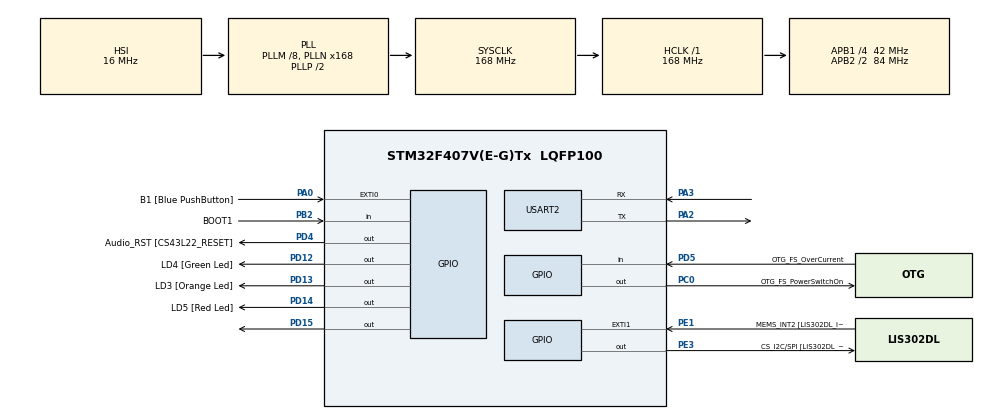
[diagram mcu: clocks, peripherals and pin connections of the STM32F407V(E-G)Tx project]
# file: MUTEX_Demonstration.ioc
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Mcu.Family=STM32F4
Mcu.Name=STM32F407V(E-G)Tx
Mcu.Package=LQFP100
NVIC.PriorityGroup=NVIC_PRIORITYGROUP_4
NVIC.TIM6_DAC_IRQn=true\:0\:0\:false\:false\:true\:false\:true\:true
NVIC.TimeBase=TIM6_DAC_IRQn
NVIC.TimeBaseIP=TIM6
NVIC.USART2_IRQn=true\:6\:0\:true\:false\:true\:true\:true\:true
PA0-WKUP.GPIO_Label=B1 [Blue PushButton]
PA0-WKUP.Signal=GPXTI0
PA10.GPIO_Label=OTG_FS_ID
PA10.GPIO_Mode=GPIO_MODE_AF_PP
PA10.GPIO_PuPd=GPIO_NOPULL
PA10.GPIO_Speed=GPIO_SPEED_FREQ_LOW
PA10.Signal=USB_OTG_FS_ID
PA11.GPIO_Label=OTG_FS_DM
PA11.GPIO_Mode=GPIO_MODE_AF_PP
PA11.GPIO_PuPd=GPIO_NOPULL
PA11.GPIO_Speed=GPIO_SPEED_FREQ_LOW
PA11.Signal=USB_OTG_FS_DM
PA12.GPIO_Label=OTG_FS_DP
PA12.GPIO_Mode=GPIO_MODE_AF_PP
PA12.GPIO_PuPd=GPIO_NOPULL
PA12.GPIO_Speed=GPIO_SPEED_FREQ_LOW
PA12.Signal=USB_OTG_FS_DP
PA13.GPIO_Label=SWDIO
PA13.Signal=SYS_JTMS-SWDIO
PA14.GPIO_Label=SWCLK
PA14.Signal=SYS_JTCK-SWCLK
PA2.Mode=Asynchronous
PA2.Signal=USART2_TX
PA3.Mode=Asynchronous
PA3.Signal=USART2_RX
PA4.GPIO_Label=I2S3_WS [CS43L22_LRCK]
PA4.GPIO_Mode=GPIO_MODE_AF_PP
PA4.GPIO_PuPd=GPIO_NOPULL
PA4.GPIO_Speed=GPIO_SPEED_FREQ_LOW
PA4.Signal=I2S3_WS
PA5.GPIO_Label=SPI1_SCK [LIS302DL_SCL/SPC]
PA5.GPIO_Mode=GPIO_MODE_AF_PP
PA5.GPIO_PuPd=GPIO_NOPULL
PA5.GPIO_Speed=GPIO_SPEED_FREQ_LOW
PA5.Signal=SPI1_SCK
PA6.GPIO_Label=SPI1_MISO [LIS302DL_SDO]
PA6.GPIO_Mode=GPIO_MODE_AF_PP
PA6.GPIO_PuPd=GPIO_NOPULL
PA6.GPIO_Speed=GPIO_SPEED_FREQ_LOW
PA6.Signal=SPI1_MISO
PA7.GPIO_Label=SPI1_MOSI [LIS302DL_SDA/SDI/SDO]
PA7.GPIO_Mode=GPIO_MODE_AF_PP
PA7.GPIO_PuPd=GPIO_NOPULL
PA7.GPIO_Speed=GPIO_SPEED_FREQ_LOW
PA7.Signal=SPI1_MOSI
PA9.GPIO_Label=VBUS_FS
PA9.GPIO_Mode=GPIO_MODE_INPUT
PA9.GPIO_PuPd=GPIO_NOPULL
PA9.Signal=USB_OTG_FS_VBUS
PB10.GPIO_Label=CLK_IN [MP45DT02_CLK]
PB10.GPIO_Mode=GPIO_MODE_AF_PP
PB10.GPIO_PuPd=GPIO_NOPULL
PB10.GPIO_Speed=GPIO_SPEED_FREQ_LOW
PB10.Signal=I2S2_CK
PB2.GPIO_Label=BOOT1
PB2.GPIO_Mode=GPIO_MODE_INPUT
PB2.GPIO_PuPd=GPIO_NOPULL
PB2.Signal=GPIO_Input
PB3.GPIO_Label=SWO
PB3.Signal=SYS_JTDO-SWO
PB6.GPIO_Label=Audio_SCL [CS43L22_SCL]
PB6.GPIO_Mode=GPIO_MODE_AF_OD
PB6.GPIO_PuPd=GPIO_NOPULL
PB6.GPIO_Speed=GPIO_SPEED_FREQ_LOW
PB6.Signal=I2C1_SCL
PB9.GPIO_Label=Audio_SDA [CS43L22_SDA]
PB9.GPIO_Mode=GPIO_MODE_AF_OD
PB9.GPIO_PuPd=GPIO_NOPULL
PB9.GPIO_Speed=GPIO_SPEED_FREQ_LOW
PB9.Signal=I2C1_SDA
PC0.GPIO_Label=OTG_FS_PowerSwitchOn
PC0.GPIO_PuPd=GPIO_NOPULL
PC0.GPIO_Speed=GPIO_SPEED_FREQ_LOW
PC0.PinState=GPIO_PIN_SET
PC0.Signal=GPIO_Output
PC10.GPIO_Label=I2S3_SCK [CS43L22_SCLK]
PC10.GPIO_Mode=GPIO_MODE_AF_PP
PC10.GPIO_PuPd=GPIO_NOPULL
PC10.GPIO_Speed=GPIO_SPEED_FREQ_LOW
PC10.Signal=I2S3_CK
PC12.GPIO_Label=I2S3_SD [CS43L22_SDIN]
PC12.GPIO_Mode=GPIO_MODE_AF_PP
PC12.GPIO_PuPd=GPIO_NOPULL
PC12.GPIO_Speed=GPIO_SPEED_FREQ_LOW
PC12.Signal=I2S3_SD
PC14-OSC32_IN.GPIO_Label=PC14-OSC32_IN
PC14-OSC32_IN.Signal=RCC_OSC32_IN
PC15-OSC32_OUT.GPIO_Label=PC15-OSC32_OUT
PC15-OSC32_OUT.Signal=RCC_OSC32_OUT
PC3.GPIO_Label=PDM_OUT [MP45DT02_DOUT]
PC3.GPIO_Mode=GPIO_MODE_AF_PP
PC3.GPIO_PuPd=GPIO_NOPULL
PC3.GPIO_Speed=GPIO_SPEED_FREQ_LOW
PC3.Signal=I2S2_SD
PC7.GPIO_Label=I2S3_MCK [CS43L22_MCLK]
PC7.GPIO_Mode=GPIO_MODE_AF_PP
PC7.GPIO_PuPd=GPIO_NOPULL
PC7.GPIO_Speed=GPIO_SPEED_FREQ_LOW
PC7.Signal=I2S3_MCK
PD12.GPIO_Label=LD4 [Green Led]
PD12.GPIO_PuPd=GPIO_NOPULL
PD12.GPIO_Speed=GPIO_SPEED_FREQ_LOW
PD12.Signal=GPIO_Output
PD13.GPIO_Label=LD3 [Orange Led]
PD13.GPIO_PuPd=GPIO_NOPULL
PD13.GPIO_Speed=GPIO_SPEED_FREQ_LOW
PD13.Signal=GPIO_Output
PD14.GPIO_Label=LD5 [Red Led]
PD14.GPIO_PuPd=GPIO_NOPULL
PD14.GPIO_Speed=GPIO_SPEED_FREQ_LOW
PD14.Signal=GPIO_Output
PD15.Signal=GPIO_Output
PD4.GPIO_Label=Audio_RST [CS43L22_RESET]
PD4.GPIO_PuPd=GPIO_NOPULL
PD4.GPIO_Speed=GPIO_SPEED_FREQ_LOW
PD4.Signal=GPIO_Output
PD5.GPIO_Label=OTG_FS_OverCurrent
PD5.GPIO_Mode=GPIO_MODE_INPUT
PD5.GPIO_PuPd=GPIO_NOPULL
PD5.Signal=GPIO_Input
PE1.GPIO_Label=MEMS_INT2 [LIS302DL_INT2]
PE1.GPIO_ModeDefaultEXTI=GPIO_MODE_EVT_RISING
PE1.GPIO_PuPd=GPIO_NOPULL
PE1.Signal=GPXTI1
PE3.GPIO_Label=CS_I2C/SPI [LIS302DL_CS_I2C/SPI]
PE3.GPIO_PuPd=GPIO_NOPULL
PE3.GPIO_Speed=GPIO_SPEED_FREQ_LOW
PE3.Signal=GPIO_Output
PH0-OSC_IN.GPIO_Label=PH0-OSC_IN
PH0-OSC_IN.Signal=RCC_OSC_IN
PH1-OSC_OUT.GPIO_Label=PH1-OSC_OUT
PH1-OSC_OUT.Signal=RCC_OSC_OUT
ProjectManager.HeapSize=0x200
ProjectManager.StackSize=0x400
ProjectManager.TargetToolchain=STM32CubeIDE
RCC.48MHZClocksFreq_Value=48000000
RCC.AHBFreq_Value=168000000
RCC.APB1CLKDivider=RCC_HCLK_DIV4
RCC.APB1Freq_Value=42000000
RCC.APB1TimFreq_Value=84000000
RCC.APB2CLKDivider=RCC_HCLK_DIV2
RCC.APB2Freq_Value=84000000
RCC.APB2TimFreq_Value=168000000
RCC.CortexFreq_Value=168000000
RCC.HCLKFreq_Value=168000000
RCC.HSE_VALUE=8000000
RCC.HSI_VALUE=16000000
RCC.LSE_VALUE=32768
RCC.PLLM=8
RCC.PLLN=168
RCC.PLLQ=7
RCC.SYSCLKFreq_VALUE=168000000
RCC.SYSCLKSource=RCC_SYSCLKSOURCE_PLLCLK
RCC.VCOOutputFreq_Value=336000000
USART2.VirtualMode=VM_ASYNC
VP_SYS_VS_tim6.Mode=TIM6
board=STM32F407G-DISC1

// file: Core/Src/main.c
/* USER CODE BEGIN Header */
/**
  ******************************************************************************
  * @brief  Mutex Demo - Two tasks printing to UART
  *
  *  THE PROBLEM:
  *  - Task2 (high priority) prints its string, then sleeps for random ticks
  *  - Task1 (low priority) starts printing its string while Task2 sleeps
  *  - Task2 wakes up mid-print, PREEMPTS Task1, and starts printing
  *  - Result: GARBLED output on the serial terminal
  *
  *  THE FIX:
  *  - Wrap prints inside a mutex lock/unlock
  *  - Even if Task2 wakes up, it WAITS for Task1 to finish printing
  *  - Result: CLEAN output
  *
  *  HOW TO TEST:
  *  - Comment out #define USE_MUTEX   -> see garbled output
  *  - Uncomment  #define USE_MUTEX   -> see clean output
  *
  ******************************************************************************
  */
/* USER CODE END Header */
#include "main.h"
#include <stdio.h>
#include <stdlib.h>
#include <string.h>
#include <stdarg.h>

/* USER CODE BEGIN Includes */
#include "FreeRTOS.h"
#include "task.h"
#include "semphr.h"
#include "queue.h"
/* USER CODE END Includes */

UART_HandleTypeDef huart2;

void SystemClock_Config(void);
static void MX_GPIO_Init(void);
static void MX_USART2_UART_Init(void);

/* USER CODE BEGIN 0 */

/* FreeRTOS calls this automatically if a task overflows its stack.
 pcTaskName tells you WHICH task caused the overflow.
 The for(;;) hangs the program so you can see it in the debugger. */
void vApplicationStackOverflowHook(TaskHandle_t xTask, char *pcTaskName) {
	(void) xTask; /* Suppress unused variable warning */
	(void) pcTaskName; /* Suppress unused variable warning */
	for (;;)
		; /* Hang here — attach debugger to see which task crashed */
}

/* FreeRTOS calls this automatically when heap memory runs out.
 This happens when xTaskCreate, xQueueCreate, xSemaphoreCreate etc. fail
 because when configTOTAL_HEAP_SIZE is too small.
 The for(;;) hangs the program so you can catch it in the debugger. */
void vApplicationMallocFailedHook(void) {
	for (;;)
		; /* Hang here — debugger will stop at this line */
}

/* ===================================================================
 *  TOGGLE THIS TO SEE THE DIFFERENCE
 *  Comment out  = garbled output (no protection)
 *  Uncomment    = clean output   (mutex protection)
 * =================================================================== */
#define USE_MUTEX
static char g_acBuf[200];

/*
 * MUTEX (Mutual Exclusion):
 *
 *  - Only ONE task can "hold" it at a time
 *  - Other tasks trying to Take() will BLOCK until it's released
 *  - The task that Take()s MUST be the one that Give()s
 *
 *  Think of it like a bathroom key:
 *    - Take the key   = lock the door, you're inside
 *    - Give the key   = unlock, next person can enter
 *    - Only key holder can unlock (unlike semaphore)
 *
 *  Mutex vs Binary Semaphore:
 *    - Both are 0 or 1
 *    - Mutex has "ownership" (only taker can give)
 *    - Mutex has "priority inheritance" (prevents priority inversion)
 *    - Semaphore is for signaling between tasks
 *    - Mutex is for protecting shared resources
 */
static SemaphoreHandle_t g_xMutex = NULL;

/* The strings each task will try to print */
static const char *pcTask1String = "Task1 ::::: Hello from low-priority task, this is a task1's string to show the problem\r\n";
static const char *pcTask2String = "Task2 ----- Hello from high-priority task, this string can interrupt Task1 anytime if USE_MUTEX not defined\r\n";

/* ----  print helper ---- */
static void vPrint(const char *fmt, ...)
{
    va_list args;
    va_start(args, fmt);
    vsnprintf(g_acBuf, sizeof(g_acBuf), fmt, args);
    va_end(args);
    HAL_UART_Transmit(&huart2, (uint8_t *)g_acBuf,
                       (uint16_t)strlen(g_acBuf), HAL_MAX_DELAY);
}

/* =========================================================================
 *  Task1 - LOW priority (priority 1)
 *
 *  Runs whenever Task2 is blocked (sleeping).
 *  Prints its string character by character so you can clearly
 *  see when Task2 preempts it mid-print if USE_MUTEX not defined.
 * ========================================================================= */
static void vTask1(void *pvParam)
{

    const char *pcChar;

    for (;;)
    {
#ifdef USE_MUTEX
        /* LOCK - Task2 cannot interrupt our printing even if it wakes up */
        xSemaphoreTake(g_xMutex, portMAX_DELAY);
#endif

        /*
         * Print one character at a time.
         * Without mutex, Task2 can preempt us between ANY two characters.
         * With mutex, Task2 must wait until we release.
         */
        pcChar = pcTask1String;
        while (*pcChar != '\0')
        {
            HAL_UART_Transmit(&huart2, (uint8_t *)pcChar, 1, HAL_MAX_DELAY);
            pcChar++;
        }

#ifdef USE_MUTEX
        /* UNLOCK - now Task2 can take the mutex and print */
        xSemaphoreGive(g_xMutex);
#endif

        /* Small delay before printing again */
        vTaskDelay(pdMS_TO_TICKS(100));
    }
}

/* =========================================================================
 *  Task2 - HIGH priority (priority 2)
 *
 *  Prints its string, then sleeps for a RANDOM number of ticks.
 *  When it wakes up, it preempts Task1 immediately (higher priority).
 *
 *  The random sleep is the KEY to this demo:
 *    - Short sleep = Task2 wakes up while Task1 is mid-print = GARBLE
 *    - Long sleep  = Task1 might finish in time = clean (by luck)
 *    - You never know when Task2 will wake up = unpredictable corruption
 * ========================================================================= */
static void vTask2(void *pvParam)
{

    const char *pcChar;

    for (;;)
    {
#ifdef USE_MUTEX
        /* LOCK - Task1 cannot be printing right now, or we wait for it */
        xSemaphoreTake(g_xMutex, portMAX_DELAY);
#endif

        /* Print one character at a time */
        pcChar = pcTask2String;
        while (*pcChar != '\0')
        {
            HAL_UART_Transmit(&huart2, (uint8_t *)pcChar, 1, HAL_MAX_DELAY);
            pcChar++;
        }

#ifdef USE_MUTEX
        /* UNLOCK */
        xSemaphoreGive(g_xMutex);
#endif

        /*
         * Sleep for RANDOM ticks (1 to 500).
         * This is what causes the unpredictable preemption.
         * Task1 starts running during this sleep.
         * When this expires, Task2 wakes up and PREEMPTS Task1.
         */
        vTaskDelay(pdMS_TO_TICKS(rand() % 500));
    }
}

/* USER CODE END 0 */

int main(void) {

	/* MCU Configuration--------------------------------------------------------*/

	/* Reset of all peripherals, Initializes the Flash interface and the Systick. */
	HAL_Init();

	/* Configure the system clock */
	SystemClock_Config();

	/* Initialize all configured peripherals */
	MX_GPIO_Init();
	MX_USART2_UART_Init();
	/* USER CODE BEGIN 2 */
#ifdef USE_MUTEX
    vPrint("\r\n=== Mutex ENABLED - output should be CLEAN ===\r\n\r\n");
    g_xMutex = xSemaphoreCreateMutex();
#else
    vPrint("\r\n=== Mutex DISABLED - output will be GARBLED ===\r\n\r\n");
#endif

    /* Task1 = low priority, Task2 = high priority */
    xTaskCreate(vTask1, "Task1-Low",  500, NULL, 1, NULL);
    xTaskCreate(vTask2, "Task2-High", 500, NULL, 2, NULL);

    vTaskStartScheduler();
		/* USER CODE END 2 */

	/* Infinite loop */
	while (1) {

	}
}

void SystemClock_Config(void) {
	RCC_OscInitTypeDef RCC_OscInitStruct = { 0 };
	RCC_ClkInitTypeDef RCC_ClkInitStruct = { 0 };

	/** Configure the main internal regulator output voltage
	 */
	__HAL_RCC_PWR_CLK_ENABLE();
	__HAL_PWR_VOLTAGESCALING_CONFIG(PWR_REGULATOR_VOLTAGE_SCALE1);

	/** Initializes the RCC Oscillators according to the specified parameters
	 * in the RCC_OscInitTypeDef structure.
	 */
	RCC_OscInitStruct.OscillatorType = RCC_OSCILLATORTYPE_HSI;
	RCC_OscInitStruct.HSIState = RCC_HSI_ON;
	RCC_OscInitStruct.HSICalibrationValue = RCC_HSICALIBRATION_DEFAULT;
	RCC_OscInitStruct.PLL.PLLState = RCC_PLL_ON;
	RCC_OscInitStruct.PLL.PLLSource = RCC_PLLSOURCE_HSI;
	RCC_OscInitStruct.PLL.PLLM = 8;
	RCC_OscInitStruct.PLL.PLLN = 168;
	RCC_OscInitStruct.PLL.PLLP = RCC_PLLP_DIV2;
	RCC_OscInitStruct.PLL.PLLQ = 7;
	if (HAL_RCC_OscConfig(&RCC_OscInitStruct) != HAL_OK) {
		Error_Handler();
	}

	/** Initializes the CPU, AHB and APB buses clocks
	 */
	RCC_ClkInitStruct.ClockType = RCC_CLOCKTYPE_HCLK | RCC_CLOCKTYPE_SYSCLK
			| RCC_CLOCKTYPE_PCLK1 | RCC_CLOCKTYPE_PCLK2;
	RCC_ClkInitStruct.SYSCLKSource = RCC_SYSCLKSOURCE_PLLCLK;
	RCC_ClkInitStruct.AHBCLKDivider = RCC_SYSCLK_DIV1;
	RCC_ClkInitStruct.APB1CLKDivider = RCC_HCLK_DIV4;
	RCC_ClkInitStruct.APB2CLKDivider = RCC_HCLK_DIV2;

	if (HAL_RCC_ClockConfig(&RCC_ClkInitStruct, FLASH_LATENCY_5) != HAL_OK) {
		Error_Handler();
	}
}

static void MX_USART2_UART_Init(void) {

	huart2.Instance = USART2;
	huart2.Init.BaudRate = 115200;
	huart2.Init.WordLength = UART_WORDLENGTH_8B;
	huart2.Init.StopBits = UART_STOPBITS_1;
	huart2.Init.Parity = UART_PARITY_NONE;
	huart2.Init.Mode = UART_MODE_TX_RX;
	huart2.Init.HwFlowCtl = UART_HWCONTROL_NONE;
	huart2.Init.OverSampling = UART_OVERSAMPLING_16;
	if (HAL_UART_Init(&huart2) != HAL_OK) {
		Error_Handler();
	}

}

static void MX_GPIO_Init(void) {
	GPIO_InitTypeDef GPIO_InitStruct = { 0 };

	/* GPIO Ports Clock Enable */
	__HAL_RCC_GPIOE_CLK_ENABLE();
	__HAL_RCC_GPIOC_CLK_ENABLE();
	__HAL_RCC_GPIOH_CLK_ENABLE();
	__HAL_RCC_GPIOA_CLK_ENABLE();
	__HAL_RCC_GPIOB_CLK_ENABLE();
	__HAL_RCC_GPIOD_CLK_ENABLE();

	/*Configure GPIO pin Output Level */
	HAL_GPIO_WritePin(CS_I2C_SPI_GPIO_Port, CS_I2C_SPI_Pin, GPIO_PIN_RESET);

	/*Configure GPIO pin Output Level */
	HAL_GPIO_WritePin(OTG_FS_PowerSwitchOn_GPIO_Port, OTG_FS_PowerSwitchOn_Pin,
			GPIO_PIN_SET);

	/*Configure GPIO pin Output Level */
	HAL_GPIO_WritePin(GPIOD,
	LD4_Pin | LD3_Pin | LD5_Pin | GPIO_PIN_15 | Audio_RST_Pin, GPIO_PIN_RESET);

	/*Configure GPIO pin : CS_I2C_SPI_Pin */
	GPIO_InitStruct.Pin = CS_I2C_SPI_Pin;
	GPIO_InitStruct.Mode = GPIO_MODE_OUTPUT_PP;
	GPIO_InitStruct.Pull = GPIO_NOPULL;
	GPIO_InitStruct.Speed = GPIO_SPEED_FREQ_LOW;
	HAL_GPIO_Init(CS_I2C_SPI_GPIO_Port, &GPIO_InitStruct);

	/*Configure GPIO pin : OTG_FS_PowerSwitchOn_Pin */
	GPIO_InitStruct.Pin = OTG_FS_PowerSwitchOn_Pin;
	GPIO_InitStruct.Mode = GPIO_MODE_OUTPUT_PP;
	GPIO_InitStruct.Pull = GPIO_NOPULL;
	GPIO_InitStruct.Speed = GPIO_SPEED_FREQ_LOW;
	HAL_GPIO_Init(OTG_FS_PowerSwitchOn_GPIO_Port, &GPIO_InitStruct);

	/*Configure GPIO pin : PDM_OUT_Pin */
	GPIO_InitStruct.Pin = PDM_OUT_Pin;
	GPIO_InitStruct.Mode = GPIO_MODE_AF_PP;
	GPIO_InitStruct.Pull = GPIO_NOPULL;
	GPIO_InitStruct.Speed = GPIO_SPEED_FREQ_LOW;
	GPIO_InitStruct.Alternate = GPIO_AF5_SPI2;
	HAL_GPIO_Init(PDM_OUT_GPIO_Port, &GPIO_InitStruct);

	/*Configure GPIO pin : B1_Pin */
	GPIO_InitStruct.Pin = B1_Pin;
	GPIO_InitStruct.Mode = GPIO_MODE_IT_RISING;
	GPIO_InitStruct.Pull = GPIO_NOPULL;
	HAL_GPIO_Init(B1_GPIO_Port, &GPIO_InitStruct);

	/*Configure GPIO pin : I2S3_WS_Pin */
	GPIO_InitStruct.Pin = I2S3_WS_Pin;
	GPIO_InitStruct.Mode = GPIO_MODE_AF_PP;
	GPIO_InitStruct.Pull = GPIO_NOPULL;
	GPIO_InitStruct.Speed = GPIO_SPEED_FREQ_LOW;
	GPIO_InitStruct.Alternate = GPIO_AF6_SPI3;
	HAL_GPIO_Init(I2S3_WS_GPIO_Port, &GPIO_InitStruct);

	/*Configure GPIO pins : SPI1_SCK_Pin SPI1_MISO_Pin SPI1_MOSI_Pin */
	GPIO_InitStruct.Pin = SPI1_SCK_Pin | SPI1_MISO_Pin | SPI1_MOSI_Pin;
	GPIO_InitStruct.Mode = GPIO_MODE_AF_PP;
	GPIO_InitStruct.Pull = GPIO_NOPULL;
	GPIO_InitStruct.Speed = GPIO_SPEED_FREQ_LOW;
	GPIO_InitStruct.Alternate = GPIO_AF5_SPI1;
	HAL_GPIO_Init(GPIOA, &GPIO_InitStruct);

	/*Configure GPIO pin : BOOT1_Pin */
	GPIO_InitStruct.Pin = BOOT1_Pin;
	GPIO_InitStruct.Mode = GPIO_MODE_INPUT;
	GPIO_InitStruct.Pull = GPIO_NOPULL;
	HAL_GPIO_Init(BOOT1_GPIO_Port, &GPIO_InitStruct);

	/*Configure GPIO pin : CLK_IN_Pin */
	GPIO_InitStruct.Pin = CLK_IN_Pin;
	GPIO_InitStruct.Mode = GPIO_MODE_AF_PP;
	GPIO_InitStruct.Pull = GPIO_NOPULL;
	GPIO_InitStruct.Speed = GPIO_SPEED_FREQ_LOW;
	GPIO_InitStruct.Alternate = GPIO_AF5_SPI2;
	HAL_GPIO_Init(CLK_IN_GPIO_Port, &GPIO_InitStruct);

	/*Configure GPIO pins : LD4_Pin LD3_Pin LD5_Pin PD15
	 Audio_RST_Pin */
	GPIO_InitStruct.Pin = LD4_Pin | LD3_Pin | LD5_Pin | GPIO_PIN_15
			| Audio_RST_Pin;
	GPIO_InitStruct.Mode = GPIO_MODE_OUTPUT_PP;
	GPIO_InitStruct.Pull = GPIO_NOPULL;
	GPIO_InitStruct.Speed = GPIO_SPEED_FREQ_LOW;
	HAL_GPIO_Init(GPIOD, &GPIO_InitStruct);

	/*Configure GPIO pins : I2S3_MCK_Pin I2S3_SCK_Pin I2S3_SD_Pin */
	GPIO_InitStruct.Pin = I2S3_MCK_Pin | I2S3_SCK_Pin | I2S3_SD_Pin;
	GPIO_InitStruct.Mode = GPIO_MODE_AF_PP;
	GPIO_InitStruct.Pull = GPIO_NOPULL;
	GPIO_InitStruct.Speed = GPIO_SPEED_FREQ_LOW;
	GPIO_InitStruct.Alternate = GPIO_AF6_SPI3;
	HAL_GPIO_Init(GPIOC, &GPIO_InitStruct);

	/*Configure GPIO pin : VBUS_FS_Pin */
	GPIO_InitStruct.Pin = VBUS_FS_Pin;
	GPIO_InitStruct.Mode = GPIO_MODE_INPUT;
	GPIO_InitStruct.Pull = GPIO_NOPULL;
	HAL_GPIO_Init(VBUS_FS_GPIO_Port, &GPIO_InitStruct);

	/*Configure GPIO pins : OTG_FS_ID_Pin OTG_FS_DM_Pin OTG_FS_DP_Pin */
	GPIO_InitStruct.Pin = OTG_FS_ID_Pin | OTG_FS_DM_Pin | OTG_FS_DP_Pin;
	GPIO_InitStruct.Mode = GPIO_MODE_AF_PP;
	GPIO_InitStruct.Pull = GPIO_NOPULL;
	GPIO_InitStruct.Speed = GPIO_SPEED_FREQ_LOW;
	GPIO_InitStruct.Alternate = GPIO_AF10_OTG_FS;
	HAL_GPIO_Init(GPIOA, &GPIO_InitStruct);

	/*Configure GPIO pin : OTG_FS_OverCurrent_Pin */
	GPIO_InitStruct.Pin = OTG_FS_OverCurrent_Pin;
	GPIO_InitStruct.Mode = GPIO_MODE_INPUT;
	GPIO_InitStruct.Pull = GPIO_NOPULL;
	HAL_GPIO_Init(OTG_FS_OverCurrent_GPIO_Port, &GPIO_InitStruct);

	/*Configure GPIO pins : Audio_SCL_Pin Audio_SDA_Pin */
	GPIO_InitStruct.Pin = Audio_SCL_Pin | Audio_SDA_Pin;
	GPIO_InitStruct.Mode = GPIO_MODE_AF_OD;
	GPIO_InitStruct.Pull = GPIO_NOPULL;
	GPIO_InitStruct.Speed = GPIO_SPEED_FREQ_LOW;
	GPIO_InitStruct.Alternate = GPIO_AF4_I2C1;
	HAL_GPIO_Init(GPIOB, &GPIO_InitStruct);

	/*Configure GPIO pin : MEMS_INT2_Pin */
	GPIO_InitStruct.Pin = MEMS_INT2_Pin;
	GPIO_InitStruct.Mode = GPIO_MODE_EVT_RISING;
	GPIO_InitStruct.Pull = GPIO_NOPULL;
	HAL_GPIO_Init(MEMS_INT2_GPIO_Port, &GPIO_InitStruct);

}

void HAL_TIM_PeriodElapsedCallback(TIM_HandleTypeDef *htim) {
	if (htim->Instance == TIM6) {
		HAL_IncTick();
	}
}

void Error_Handler(void) {
	__disable_irq();
	while (1) {
	}
}
